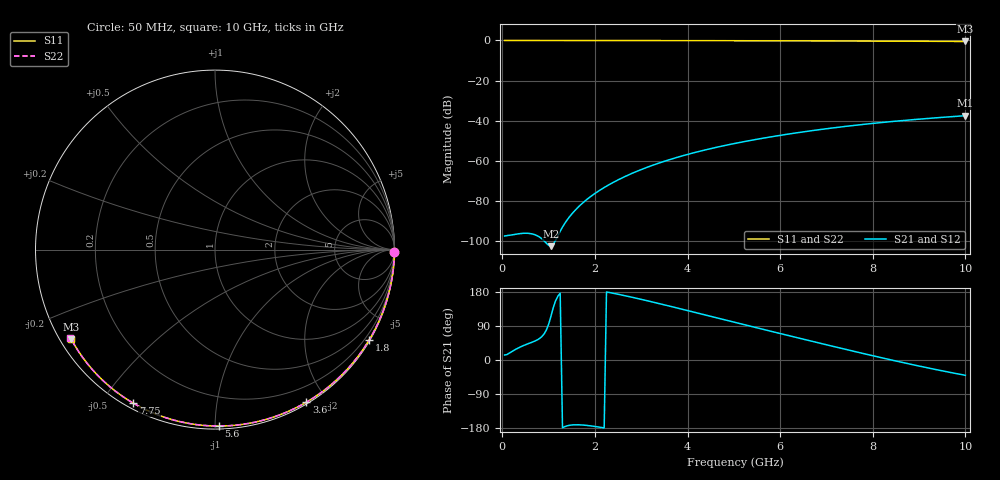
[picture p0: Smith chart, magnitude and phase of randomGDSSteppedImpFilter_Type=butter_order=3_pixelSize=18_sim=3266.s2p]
! freq	dB(S11)	phase(S11)	dB(S12)	phase(S12)
!  dB(S21)	phase(S21)	dB(S22)	phase(S22)
!S-par simulation data
#  GHz  S  DB  R 50
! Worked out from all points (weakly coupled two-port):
!   200 points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, 50 MHz to 10 GHz, reference 50 ohm
!   highest |S21| = -37.43 dB at 10 GHz (marker M1); lowest = -102.4 dB at 1.05 GHz (marker M2)
!   lowest |S11| = -0.5 dB at 10 GHz (marker M3), VSWR 34.15, Z = 1.58 - j14.3 ohm
!   |S11| at or under -10 dB: nowhere
!   |S22| runs from -0.5 to 0.0 dB; largest |S21 - S12| = 0
!   S11 on the Smith chart (normalised r, x): 50 MHz: open; 1.8 GHz: 0.03, -3.69; 3.6 GHz: 0.02, -1.76; 5.6 GHz: 0.02, -1.02; 7.75 GHz: 0.02, -0.60; 10 GHz: 0.03, -0.29
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0.05  -0.00 -0.9  -97.29 13.2  -97.29 13.2  -0.00 -0.9
0.55  -0.01 -9.4  -95.96 42.5  -95.96 42.5  -0.01 -9.5
1.05  -0.02 -17.8  -102.37 115.0  -102.37 115.0  -0.02 -18.0
1.75  -0.04 -29.5  -80.59 -171.7  -80.59 -171.7  -0.04 -29.7
1.8  -0.04 -30.3  -79.61 -172.3  -79.61 -172.3  -0.04 -30.6
1.95  -0.04 -32.8  -76.96 -174.5  -76.96 -174.5  -0.04 -33.0
2.1  -0.04 -35.3  -74.62 -177.2  -74.62 -177.2  -0.05 -35.5
2.3  -0.05 -38.5  -71.84 178.4  -71.84 178.4  -0.05 -38.8
2.5  -0.05 -41.8  -69.38 173.6  -69.38 173.6  -0.05 -42.1
2.9  -0.06 -48.2  -65.18 162.9  -65.18 162.9  -0.06 -48.5
3.4  -0.07 -56.0  -60.88 148.5  -60.88 148.5  -0.08 -56.4
3.6  -0.08 -59.1  -59.39 142.5  -59.39 142.5  -0.08 -59.6
4.3  -0.10 -69.8  -54.93 121.3  -54.93 121.3  -0.10 -70.3
5.05  -0.12 -80.9  -51.11 98.5  -51.11 98.5  -0.13 -81.4
5.6  -0.15 -88.8  -48.75 81.9  -48.75 81.9  -0.15 -89.4
6.15  -0.17 -96.5  -46.68 65.4  -46.68 65.4  -0.17 -97.2
6.7  -0.20 -104.0  -44.84 49.0  -44.84 49.0  -0.20 -104.8
7.2  -0.23 -110.8  -43.35 34.3  -43.35 34.3  -0.24 -111.6
7.75  -0.27 -118.1  -41.88 18.4  -41.88 18.4  -0.28 -119.0
8.35  -0.32 -126.0  -40.48 1.5  -40.48 1.5  -0.33 -126.9
9.2  -0.41 -137.2  -38.79 -21.1  -38.79 -21.1  -0.41 -138.1
10  -0.51 -148.1  -37.43 -40.4  -37.43 -40.4  -0.50 -148.7
